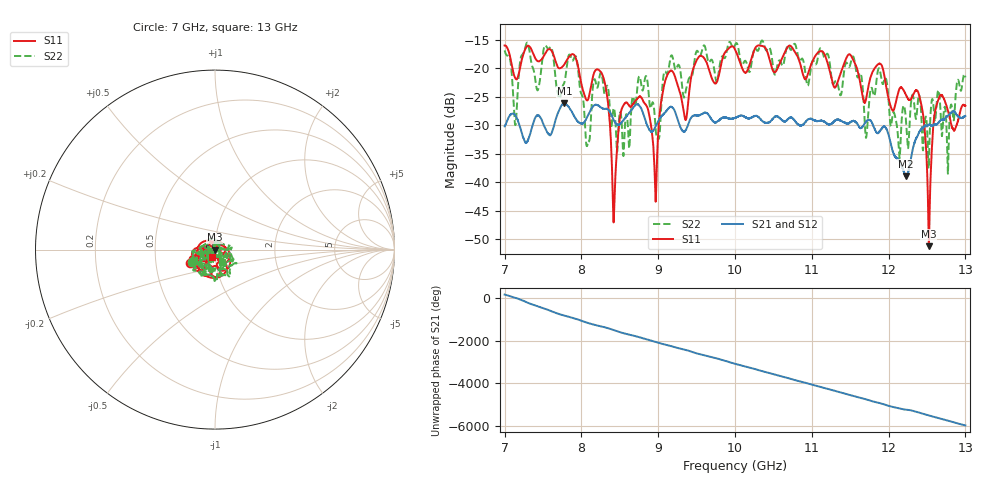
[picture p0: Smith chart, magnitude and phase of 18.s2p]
[Version] 2.0
! Rohde & Schwarz Vector Network Analyzer
! Rohde-Schwarz,ZNL20-2Port,1323001220200009,1.71.1.10-23.02.1.238
! Port Assignments:
! Nominal Port -> Actual Test Port
!  1 -> 1
!  2 -> 2
! Created: GMT+3 2024-09-24 16:07:19
# Hz S DB R 50
[Number of Ports] 2
[Two-Port Data Order] 21_12
! freq[Hz]  S11[mag dB]  S11[ang]  S21[mag dB]  S21[ang]  S12[mag dB]  S12[ang]  S22[mag dB]  S22[ang]
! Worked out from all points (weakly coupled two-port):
!   6001 points, 7 GHz to 13 GHz, reference 50 ohm
!   highest |S21| = -26.15 dB at 7.778 GHz (marker M1); lowest = -39.0 dB at 12.22 GHz (marker M2)
!   lowest |S11| = -51.2 dB at 12.52 GHz (marker M3), VSWR 1.01, Z = 49.7 - j0.074 ohm
!   |S11| at or under -10 dB: start of sweep to end of sweep
!   |S22| runs from -38.5 to -15.1 dB; largest |S21 - S12| = 0.0012
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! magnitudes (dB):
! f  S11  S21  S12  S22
! 7 GHz  -16.0  -30.2  -30.2  -16.9
! 7.139 GHz  -21.8  -28.2  -28.4  -30.0
! 7.287 GHz  -16.2  -33.1  -33.1  -15.6
! 7.778 GHz  -19.3  -26.1  -26.1  -22.5
! 8 GHz  -22.8  -29.7  -29.8  -24.5
! 8.084 GHz  -25.6  -28.3  -28.3  -33.2
! 8.286 GHz  -21.7  -27.1  -27.1  -23.2
! 8.424 GHz  -45.8  -29.2  -29.1  -27.0
! 8.561 GHz  -26.2  -28.9  -28.9  -31.7
! 8.839 GHz  -26.4  -29.3  -29.4  -21.4
! 9 GHz  -31.4  -29.3  -29.4  -32.3
! 9.17 GHz  -20.4  -26.8  -26.8  -17.8
! 9.355 GHz  -29.1  -31.0  -30.9  -24.3
! 10 GHz  -16.7  -28.7  -28.7  -15.9
! 11 GHz  -19.1  -28.9  -28.9  -19.1
! 12 GHz  -25.3  -31.7  -31.7  -25.7
! 12.22 GHz  -24.7  -39.0  -39.0  -28.9
! 12.42 GHz  -25.7  -30.9  -30.9  -26.2
! 12.52 GHz  -51.2  -29.9  -30.0  -36.9
! 12.65 GHz  -25.4  -29.6  -29.5  -23.9
! 12.77 GHz  -27.5  -28.3  -28.2  -38.5
! 13 GHz  -26.6  -28.4  -28.5  -21.6
